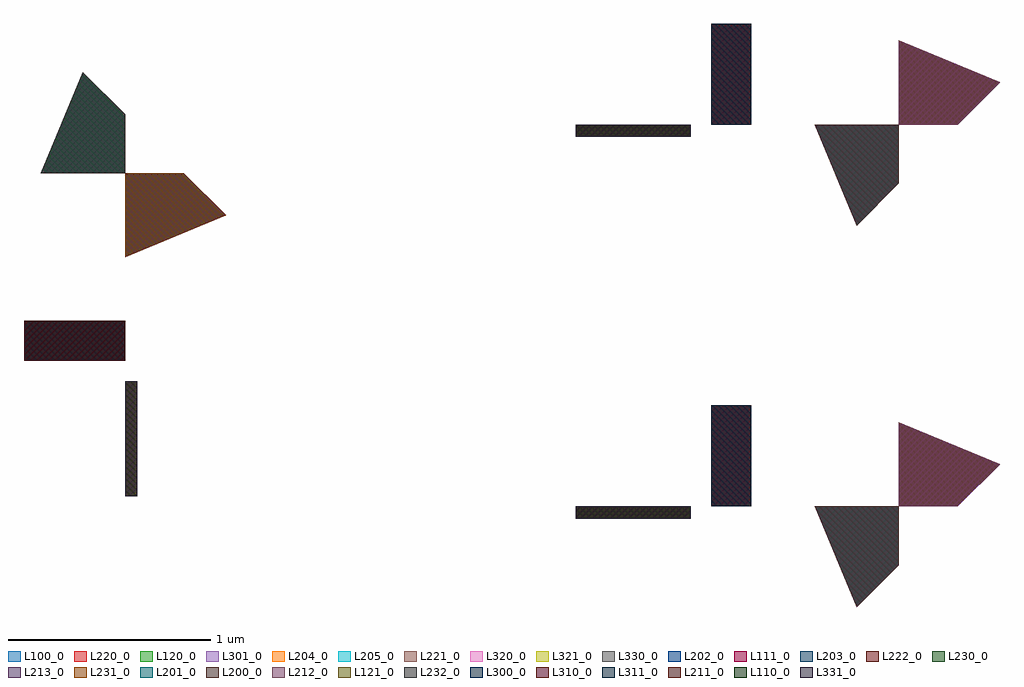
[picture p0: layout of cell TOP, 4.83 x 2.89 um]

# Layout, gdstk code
from math import pi, radians
import gdstk
lib = gdstk.Library(unit=1e-6, precision=1e-09)
def R(c, l, rs):  # rectangles x0, y0, x1, y1
    for r in rs: c.add(gdstk.rectangle(r[:2], r[2:], *l))
def P(c, l, *ps):  # polygons
    for p in ps: c.add(gdstk.Polygon(p, *l))
L100_0 = (100, 0)
L110_0 = (110, 0)
L111_0 = (111, 0)
L120_0 = (120, 0)
L121_0 = (121, 0)
L200_0 = (200, 0)
L201_0 = (201, 0)
L202_0 = (202, 0)
L203_0 = (203, 0)
L204_0 = (204, 0)
L205_0 = (205, 0)
L211_0 = (211, 0)
L212_0 = (212, 0)
L213_0 = (213, 0)
L220_0 = (220, 0)
L221_0 = (221, 0)
L222_0 = (222, 0)
L230_0 = (230, 0)
L231_0 = (231, 0)
L232_0 = (232, 0)
L300_0 = (300, 0)
L301_0 = (301, 0)
L310_0 = (310, 0)
L311_0 = (311, 0)
L320_0 = (320, 0)
L321_0 = (321, 0)
L330_0 = (330, 0)
L331_0 = (331, 0)

c_c = lib.new_cell('C')
R(c_c, L100_0, [(-1.16,0.73,-0.59,0.79), (-0.49,0.79,-0.29,1.29)])
P(c_c, L100_0, [(0.23,0.29),(0.023,0.79),(0.44,0.79),(0.44,0.5)],
  [(0.44,0.79),(0.44,1.207),(0.94,1),(0.73,0.79)])
R(c_c, L110_0, [(-1.16,0.73,-0.59,0.79)])
P(c_c, L111_0, [(0.23,0.29),(0.023,0.79),(0.44,0.79),(0.44,0.5)],
  [(0.44,0.79),(0.44,1.207),(0.94,1),(0.73,0.79)])
R(c_c, L120_0, [(-0.49,0.79,-0.29,1.29)])
P(c_c, L120_0, [(0.23,0.29),(0.023,0.79),(0.44,0.79),(0.44,0.5)],
  [(0.44,0.79),(0.44,1.207),(0.94,1),(0.73,0.79)])
R(c_c, L121_0, [(-1.16,0.73,-0.59,0.79), (-0.49,0.79,-0.29,1.29)])

c_1 = lib.new_cell('C$1')
P(c_1, L200_0, [(0.23,0.29),(0.023,0.79),(0.44,0.79),(0.44,0.5)],
  [(0.44,0.79),(0.44,1.207),(0.94,1),(0.73,0.79)])
R(c_1, L201_0, [(-1.16,0.73,-0.59,0.79)])
P(c_1, L201_0, [(0.23,0.29),(0.023,0.79),(0.44,0.79),(0.44,0.5)])
R(c_1, L202_0, [(-0.49,0.79,-0.29,1.29)])
P(c_1, L202_0, [(0.23,0.29),(0.023,0.79),(0.44,0.79),(0.44,0.5)],
  [(0.44,0.79),(0.44,1.207),(0.94,1),(0.73,0.79)])
P(c_1, L203_0, [(0.23,0.29),(0.023,0.79),(0.44,0.79),(0.44,0.5)],
  [(0.44,0.79),(0.44,1.207),(0.94,1),(0.73,0.79)])
R(c_1, L204_0, [(-0.49,0.79,-0.29,1.29)])
P(c_1, L204_0, [(0.23,0.29),(0.023,0.79),(0.44,0.79),(0.44,0.5)],
  [(0.44,0.79),(0.44,1.207),(0.94,1),(0.73,0.79)])
R(c_1, L205_0, [(-0.49,0.79,-0.29,1.29)])
P(c_1, L205_0, [(0.23,0.29),(0.023,0.79),(0.44,0.79),(0.44,0.5)],
  [(0.44,0.79),(0.44,1.207),(0.94,1),(0.73,0.79)])
R(c_1, L211_0, [(-1.16,0.73,-0.59,0.79)])
R(c_1, L212_0, [(-0.49,0.79,-0.29,1.29)])
P(c_1, L212_0, [(0.44,0.79),(0.44,1.207),(0.94,1),(0.73,0.79)])
R(c_1, L213_0, [(-0.49,0.79,-0.29,1.29)])
P(c_1, L213_0, [(0.44,0.79),(0.44,1.207),(0.94,1),(0.73,0.79)])
R(c_1, L220_0, [(-1.16,0.73,-0.59,0.79), (-0.49,0.79,-0.29,1.29)])
P(c_1, L220_0, [(0.23,0.29),(0.023,0.79),(0.44,0.79),(0.44,0.5)],
  [(0.44,0.79),(0.44,1.207),(0.94,1),(0.73,0.79)])
R(c_1, L221_0, [(-0.49,0.79,-0.29,1.29)])
P(c_1, L221_0, [(0.23,0.29),(0.023,0.79),(0.44,0.79),(0.44,0.5)],
  [(0.44,0.79),(0.44,1.207),(0.94,1),(0.73,0.79)])
R(c_1, L222_0, [(-1.16,0.73,-0.59,0.79)])
P(c_1, L222_0, [(0.23,0.29),(0.023,0.79),(0.44,0.79),(0.44,0.5)])
R(c_1, L230_0, [(-1.16,0.73,-0.59,0.79), (-0.49,0.79,-0.29,1.29)])
R(c_1, L231_0, [(-0.49,0.79,-0.29,1.29)])
P(c_1, L231_0, [(0.44,0.79),(0.44,1.207),(0.94,1),(0.73,0.79)])
R(c_1, L232_0, [(-1.16,0.73,-0.59,0.79)])
R(c_1, L300_0, [(-0.49,0.79,-0.29,1.29)])
R(c_1, L301_0, [(-0.49,0.79,-0.29,1.29)])
P(c_1, L301_0, [(0.23,0.29),(0.023,0.79),(0.44,0.79),(0.44,0.5)],
  [(0.44,0.79),(0.44,1.207),(0.94,1),(0.73,0.79)])
R(c_1, L310_0, [(-0.49,0.79,-0.29,1.29)])
R(c_1, L311_0, [(-0.49,0.79,-0.29,1.29)])
R(c_1, L320_0, [(-1.16,0.73,-0.59,0.79)])
P(c_1, L320_0, [(0.23,0.29),(0.023,0.79),(0.44,0.79),(0.44,0.5)],
  [(0.44,0.79),(0.44,1.207),(0.94,1),(0.73,0.79)])
R(c_1, L321_0, [(-1.16,0.73,-0.59,0.79)])
P(c_1, L321_0, [(0.23,0.29),(0.023,0.79),(0.44,0.79),(0.44,0.5)],
  [(0.44,0.79),(0.44,1.207),(0.94,1),(0.73,0.79)])
R(c_1, L330_0, [(-1.16,0.73,-0.59,0.79)])
P(c_1, L330_0, [(0.23,0.29),(0.023,0.79),(0.44,0.79),(0.44,0.5)],
  [(0.44,0.79),(0.44,1.207),(0.94,1),(0.73,0.79)])
R(c_1, L331_0, [(-1.16,0.73,-0.59,0.79)])

c_var1 = lib.new_cell('C$VAR1')
R(c_var1, L201_0, [(-0.49,0.79,-0.29,1.29)])
P(c_var1, L201_0, [(0.44,0.79),(0.44,1.207),(0.94,1),(0.73,0.79)])
R(c_var1, L202_0, [(-1.16,0.73,-0.59,0.79)])
P(c_var1, L202_0, [(0.23,0.29),(0.023,0.79),(0.44,0.79),(0.44,0.5)])
P(c_var1, L203_0, [(0.23,0.29),(0.023,0.79),(0.44,0.79),(0.44,0.5)],
  [(0.44,0.79),(0.44,1.207),(0.94,1),(0.73,0.79)])
R(c_var1, L204_0, [(-1.16,0.73,-0.59,0.79)])
P(c_var1, L204_0, [(0.23,0.29),(0.023,0.79),(0.44,0.79),(0.44,0.5)],
  [(0.44,0.79),(0.44,1.207),(0.94,1),(0.73,0.79)])
R(c_var1, L205_0, [(-1.16,0.73,-0.59,0.79)])
P(c_var1, L205_0, [(0.23,0.29),(0.023,0.79),(0.44,0.79),(0.44,0.5)],
  [(0.44,0.79),(0.44,1.207),(0.94,1),(0.73,0.79)])
R(c_var1, L211_0, [(-0.49,0.79,-0.29,1.29)])
R(c_var1, L212_0, [(-1.16,0.73,-0.59,0.79)])
R(c_var1, L213_0, [(-1.16,0.73,-0.59,0.79)])
P(c_var1, L213_0, [(0.23,0.29),(0.023,0.79),(0.44,0.79),(0.44,0.5)])
R(c_var1, L220_0, [(-1.16,0.73,-0.59,0.79), (-0.49,0.79,-0.29,1.29)])
P(c_var1, L220_0, [(0.23,0.29),(0.023,0.79),(0.44,0.79),(0.44,0.5)],
  [(0.44,0.79),(0.44,1.207),(0.94,1),(0.73,0.79)])
R(c_var1, L221_0, [(-1.16,0.73,-0.59,0.79)])
P(c_var1, L221_0, [(0.23,0.29),(0.023,0.79),(0.44,0.79),(0.44,0.5)],
  [(0.44,0.79),(0.44,1.207),(0.94,1),(0.73,0.79)])
R(c_var1, L222_0, [(-0.49,0.79,-0.29,1.29)])
P(c_var1, L222_0, [(0.23,0.29),(0.023,0.79),(0.44,0.79),(0.44,0.5)],
  [(0.44,0.79),(0.44,1.207),(0.94,1),(0.73,0.79)])
R(c_var1, L230_0, [(-1.16,0.73,-0.59,0.79), (-0.49,0.79,-0.29,1.29)])
P(c_var1, L230_0, [(0.23,0.29),(0.023,0.79),(0.44,0.79),(0.44,0.5)],
  [(0.44,0.79),(0.44,1.207),(0.94,1),(0.73,0.79)])
R(c_var1, L231_0, [(-1.16,0.73,-0.59,0.79)])
P(c_var1, L231_0, [(0.23,0.29),(0.023,0.79),(0.44,0.79),(0.44,0.5)])
R(c_var1, L232_0, [(-0.49,0.79,-0.29,1.29)])
P(c_var1, L232_0, [(0.44,0.79),(0.44,1.207),(0.94,1),(0.73,0.79)])
R(c_var1, L300_0, [(-0.49,0.79,-0.29,1.29)])
R(c_var1, L301_0, [(-0.49,0.79,-0.29,1.29)])
P(c_var1, L301_0, [(0.23,0.29),(0.023,0.79),(0.44,0.79),(0.44,0.5)],
  [(0.44,0.79),(0.44,1.207),(0.94,1),(0.73,0.79)])
R(c_var1, L310_0, [(-0.49,0.79,-0.29,1.29)])
R(c_var1, L311_0, [(-0.49,0.79,-0.29,1.29)])
R(c_var1, L320_0, [(-1.16,0.73,-0.59,0.79)])
P(c_var1, L320_0, [(0.23,0.29),(0.023,0.79),(0.44,0.79),(0.44,0.5)],
  [(0.44,0.79),(0.44,1.207),(0.94,1),(0.73,0.79)])
R(c_var1, L321_0, [(-1.16,0.73,-0.59,0.79)])
P(c_var1, L321_0, [(0.23,0.29),(0.023,0.79),(0.44,0.79),(0.44,0.5)],
  [(0.44,0.79),(0.44,1.207),(0.94,1),(0.73,0.79)])
R(c_var1, L330_0, [(-1.16,0.73,-0.59,0.79)])
P(c_var1, L330_0, [(0.23,0.29),(0.023,0.79),(0.44,0.79),(0.44,0.5)],
  [(0.44,0.79),(0.44,1.207),(0.94,1),(0.73,0.79)])
R(c_var1, L331_0, [(-1.16,0.73,-0.59,0.79)])

top = lib.new_cell('TOP')
top.add(gdstk.Reference(c_c, (0.07,0.18)))
top.add(gdstk.Reference(c_c, (0.07,2.07)))
top.add(gdstk.Reference(c_c, (-2.53,2.18), rotation=pi/2))
top.add(gdstk.Reference(c_1, (0.07,0.18)))
top.add(gdstk.Reference(c_1, (0.07,2.07)))
top.add(gdstk.Reference(c_var1, (-2.53,2.18), rotation=pi/2))

lib.write_gds('TOP.gds')
